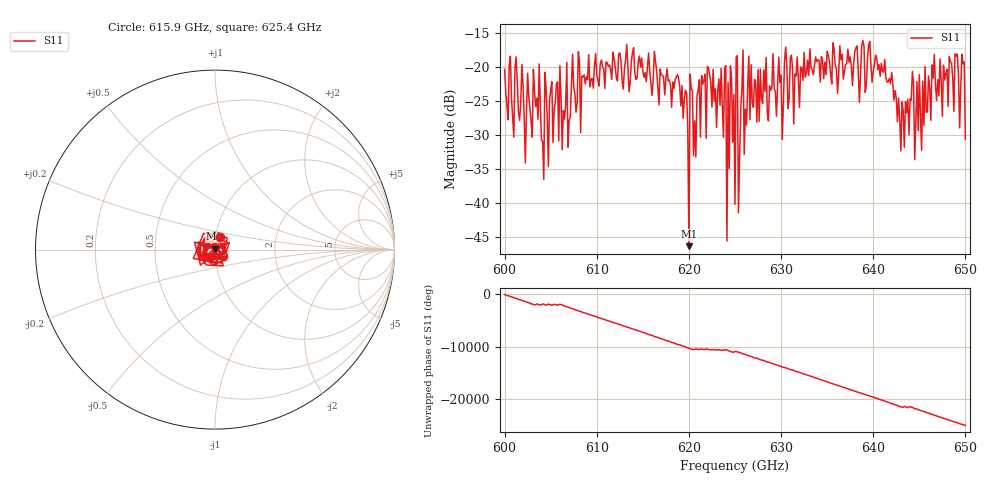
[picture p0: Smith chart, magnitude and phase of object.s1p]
!Created with skrf (http://scikit-rf.org).
# GHz S MA R 50.0
!freq magS11 angS11
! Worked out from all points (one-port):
!   401 points, 600 GHz to 650 GHz, reference 50 ohm
!   lowest |S11| = -46.3 dB at 620 GHz (marker M1), VSWR 1.01, Z = 49.8 + j0.434 ohm
!   |S11| at or under -10 dB: start of sweep to end of sweep
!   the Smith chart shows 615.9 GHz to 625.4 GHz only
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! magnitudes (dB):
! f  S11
! 600 GHz  -20.3
! 602.4 GHz  -26.5
! 603.5 GHz  -24.6
! 604.1 GHz  -30.9
! 605.8 GHz  -22.2
! 606.2 GHz  -32.1
! 608.9 GHz  -21.4
! 612.5 GHz  -17.9
! 618.8 GHz  -21.1
! 620 GHz  -46.3
! 622.2 GHz  -21.1
! 622.8 GHz  -25.0
! 623.8 GHz  -30.3
! 623.9 GHz  -20.2
! 625 GHz  -40.2
! 625.2 GHz  -18.3
! 626.6 GHz  -27.7
! 628.8 GHz  -22.8
! 629 GHz  -23.0
! 631.2 GHz  -20.2
! 637.5 GHz  -18.5
! 640.4 GHz  -18.6
! 641.9 GHz  -22.4
! 643.1 GHz  -25.1
! 643.8 GHz  -24.7
! 649 GHz  -18.4
! 649.8 GHz  -19.5
! 650 GHz  -30.6
